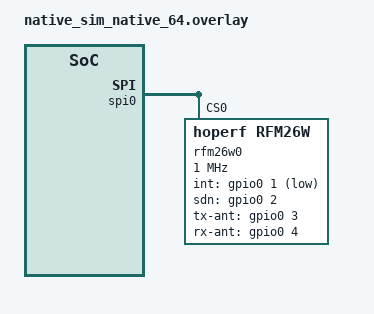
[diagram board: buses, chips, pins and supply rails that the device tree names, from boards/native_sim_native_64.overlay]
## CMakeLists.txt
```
cmake_minimum_required(VERSION 3.20.0)

# Runs on the host, not on the target: the radio is a software model on an emulated SPI bus.
set(BOARD native_sim/native/64)

# The RFM26W driver is an out-of-tree Zephyr module that lives in the COMMS app.
list(APPEND EXTRA_ZEPHYR_MODULES ${CMAKE_CURRENT_SOURCE_DIR}/../../COMMS/drivers/rfm26w)

find_package(Zephyr REQUIRED HINTS $ENV{ZEPHYR_BASE})
project(rfm26w_emul_test)

# The radio model is shared with apps/tests/commsTest
set(RFM26W_EMUL_DIR ${CMAKE_CURRENT_SOURCE_DIR}/../../COMMS/drivers/rfm26w/emul)

target_sources(app PRIVATE src/main.c ${RFM26W_EMUL_DIR}/rfm26w_emul.c)
target_include_directories(app PRIVATE ${RFM26W_EMUL_DIR})
```

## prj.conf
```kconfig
CONFIG_ZTEST=y
CONFIG_ASSERT=y

CONFIG_GPIO=y
CONFIG_GPIO_EMUL=y
CONFIG_SPI=y
CONFIG_SPI_EMUL=y
CONFIG_EMUL=y

CONFIG_LOG=y
CONFIG_RFM26W_LOG_LEVEL_DBG=y

# The driver's work queue runs the callback and FIFO streaming
CONFIG_MAIN_STACK_SIZE=4096
CONFIG_ZTEST_STACK_SIZE=4096

# native_sim defaults to 10 ms ticks, which would turn the driver's 1 ms sleeps into 10 ms ones
CONFIG_SYS_CLOCK_TICKS_PER_SEC=10000
```

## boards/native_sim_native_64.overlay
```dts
/*
 * The RFM26W node on native_sim's emulated SPI controller and emulated GPIO port. Both the driver
 * and the software model in src/rfm26w_emul.c bind to this node (compatible "hoperf,rfm26w").
 * The pins are arbitrary: nothing is wired.
 */
&spi0 {
	rfm26w0: rfm26w@0 {
		compatible = "hoperf,rfm26w";
		reg = <0>;
		spi-max-frequency = <1000000>;
		int-gpios = <&gpio0 1 (GPIO_ACTIVE_LOW | GPIO_PULL_UP)>;
		sdn-gpios = <&gpio0 2 GPIO_ACTIVE_HIGH>;
		tx-ant-gpios = <&gpio0 3 GPIO_ACTIVE_HIGH>;
		rx-ant-gpios = <&gpio0 4 GPIO_ACTIVE_HIGH>;
		block-length = <223>;
		xo-frequency-hz = <30000000>;
	};
};
```

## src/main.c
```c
/**
 * @file main.c
 * @brief Tests for the RFM26W driver against a software model of the radio (native_sim)
 *
 * What this covers: command sequencing and CTS handling, profile loading and read-back, start and
 * shutdown, configure, FIFO streaming for send and receive, the interrupt loop, RSSI timing, error
 * paths and blocked callers being woken by shutdown. What it cannot cover: how the real chip behaves.
 * See PLANNED.md section 5.5 for what needs the bench.
 */
#include <errno.h>
#include <string.h>
#include <zephyr/device.h>
#include <zephyr/kernel.h>
#include <zephyr/ztest.h>

#include <ut/drivers/rfm26w.h>

#include "rfm26w_emul.h"

#define BLOCK 223

/* The RSSI offset the test profile below writes, so the dBm conversion has a known input. */
#define TEST_RSSI_COMP 0x40
#define EXPECT_DBM10(raw) ((int16_t)((raw) * 5 - (TEST_RSSI_COMP + 70) * 10))

static const struct device *const radio = DEVICE_DT_GET(DT_NODELABEL(rfm26w0));
static struct rfm26w_emul_data *emul;

/* ------------------------------------------------------------------------------------------ */
/* A small profile table, replacing the driver's (weak) empty placeholder                     */
/* ------------------------------------------------------------------------------------------ */

static const uint8_t test_profile[] = {
	/* POWER_UP with the 30 MHz reference: the driver must skip it and send its own */
	0x07, 0x02, 0x01, 0x00, 0x01, 0xC9, 0xC3, 0x80,
	/* GPIO_PIN_CFG, no change */
	0x08, 0x13, 0x00, 0x00, 0x00, 0x00, 0x00, 0x00, 0x00,
	/* GLOBAL_XO_TUNE and GLOBAL_CLK_CFG (group 0, two properties) */
	0x06, 0x11, 0x00, 0x02, 0x00, 0x52, 0x00,
	/* MODEM_RSSI_COMP = TEST_RSSI_COMP */
	0x05, 0x11, 0x20, 0x01, 0x4E, TEST_RSSI_COMP,
	/* PKT_TX_THRESHOLD, PKT_RX_THRESHOLD = 16, 16: the driver must overwrite these */
	0x06, 0x11, 0x12, 0x02, 0x0B, 0x10, 0x10,
	0x00,
};

int rfm26w_profile_table(enum rfm26w_profile profile, const uint8_t **tbl, size_t *len)
{
	if (profile != RFM26W_PROFILE_GFSK_9K6) {
		return -ENOTSUP;
	}
	*tbl = test_profile;
	*len = sizeof(test_profile);
	return 0;
}

/* ------------------------------------------------------------------------------------------ */
/* Helpers                                                                                    */
/* ------------------------------------------------------------------------------------------ */

#define WAIT_UNTIL(cond, ms)                                                                       \
	do {                                                                                       \
		for (int _i = 0; !(cond) && _i < (ms); _i++) {                                     \
			k_msleep(1);                                                               \
		}                                                                                  \
	} while (0)

static void fill(uint8_t *b, uint8_t seed)
{
	for (int i = 0; i < BLOCK; i++) {
		b[i] = (uint8_t)(seed + i * 7);
	}
}

struct rx_log {
	int n;
	uint8_t blocks[4][BLOCK];
	struct rfm26w_rx_info infos[4];
};
static struct rx_log rxlog;

static void rx_cb(const struct device *dev, const uint8_t *block, size_t len,
		  const struct rfm26w_rx_info *info, void *user_data)
{
	ARG_UNUSED(dev);
	ARG_UNUSED(user_data);
	if (rxlog.n < 4 && len == BLOCK) {
		memcpy(rxlog.blocks[rxlog.n], block, len);
		rxlog.infos[rxlog.n] = *info;
	}
	rxlog.n++;
}

static void start_radio(void)
{
	zassert_ok(rfm26w_start(radio), "start failed");
}

/* ------------------------------------------------------------------------------------------ */
/* Suite                                                                                      */
/* ------------------------------------------------------------------------------------------ */

static void before(void *fixture)
{
	ARG_UNUSED(fixture);
	emul = RFM26W_EMUL_DATA();
	(void)rfm26w_shutdown(radio);
	rfm26w_emul_reset(emul);
	memset(&rxlog, 0, sizeof(rxlog));
}

static void after(void *fixture)
{
	ARG_UNUSED(fixture);
	/* Whatever the test did, the driver must never have broken the command protocol. */
	zassert_equal(emul->cmds_while_busy, 0, "command sent before CTS");
	zassert_equal(emul->bad_cmds, 0, "bad or unknown command sent");
	zassert_equal(emul->ant_violations, 0, "antenna pins wrong for the radio state");
	(void)rfm26w_shutdown(radio);
}

ZTEST_SUITE(rfm26w, NULL, NULL, before, after, NULL);

/* ---- start, shutdown, info ---- */

ZTEST(rfm26w, test_start_programs_the_chip)
{
	start_radio();

	zassert_equal(emul->power_ups, 1);
	zassert_equal(emul->xo_hz, 30000000U, "POWER_UP must carry the devicetree clock");
	zassert_false(emul->xo_tcxo);
	zassert_equal(emul->state, 3, "radio should be Ready");
	zassert_true(emul->cmd_count[0x01] >= 1, "PART_INFO not read");

	/* profile properties arrived, the POWER_UP entry was skipped, thresholds were overwritten */
	zassert_equal(rfm26w_emul_prop(emul, 0x00, 0x00), 0x52);
	zassert_equal(rfm26w_emul_prop(emul, 0x20, 0x4E), TEST_RSSI_COMP);
	zassert_equal(emul->cmd_count[0x02], 1, "only the driver's own POWER_UP");
	zassert_equal(emul->cmd_count[0x13], 1, "profile GPIO_PIN_CFG not sent");
	zassert_equal(rfm26w_emul_prop(emul, 0x12, 0x0B), CONFIG_RFM26W_TX_THRESHOLD);
	zassert_equal(rfm26w_emul_prop(emul, 0x12, 0x0C), CONFIG_RFM26W_RX_THRESHOLD);

	/* interrupts: all three groups, packet/FIFO bits, sync detect, FIFO error */
	zassert_equal(rfm26w_emul_prop(emul, 0x01, 0x00), 0x07);
	zassert_equal(rfm26w_emul_prop(emul, 0x01, 0x01), 0x33);
	zassert_equal(rfm26w_emul_prop(emul, 0x01, 0x02), 0x01);
	zassert_equal(rfm26w_emul_prop(emul, 0x01, 0x03), 0x20);
}

ZTEST(rfm26w, test_start_twice_is_harmless)
{
	start_radio();
	zassert_ok(rfm26w_start(radio));
	zassert_equal(emul->power_ups, 1);
}

ZTEST(rfm26w, test_get_info)
{
	struct rfm26w_info info;

	zassert_equal(rfm26w_get_info(radio, &info), -ESHUTDOWN);
	start_radio();
	zassert_ok(rfm26w_get_info(radio, &info));
	zassert_equal(info.part, 0x4463);
	zassert_equal(info.chip_rev, 0x03);
	zassert_equal(info.block_len, BLOCK);
	zassert_equal(info.profile, RFM26W_PROFILE_GFSK_9K6);
	zassert_equal(rfm26w_get_info(radio, NULL), -EINVAL);
}

ZTEST(rfm26w, test_start_without_cts_times_out_and_recovers)
{
	struct rfm26w_stats st;

	emul->never_cts = true;
	zassert_equal(rfm26w_start(radio), -ETIMEDOUT);
	zassert_ok(rfm26w_get_stats(radio, &st));
	zassert_equal(st.cts_timeouts, 1);

	emul->never_cts = false;
	zassert_ok(rfm26w_start(radio), "a failed start must leave the radio startable");
}

ZTEST(rfm26w, test_slow_cts_is_polled_not_failed)
{
	/* 60 polls: about 50 busy-wait polls and ten 1 ms sleeps, inside the 20 ms timeout */
	emul->cts_delay_polls = 60;
	start_radio();
}

ZTEST(rfm26w, test_spi_error_is_reported)
{
	struct rfm26w_stats st;

	emul->fail_next_io = true;
	zassert_equal(rfm26w_start(radio), -EIO);
	zassert_ok(rfm26w_get_stats(radio, &st));
	zassert_equal(st.spi_errors, 1);
	zassert_ok(rfm26w_start(radio));
}

ZTEST(rfm26w, test_profile_readback_catches_a_bad_write)
{
	emul->corrupt_props = true;
	zassert_equal(rfm26w_start(radio), -EIO, "read-back must notice the wrong values");
	emul->corrupt_props = false;
	zassert_ok(rfm26w_start(radio));
}

ZTEST(rfm26w, test_restart_after_shutdown)
{
	uint8_t blk[BLOCK];
	uint8_t got[BLOCK];
	size_t len = 0;

	fill(blk, 1);
	start_radio();
	zassert_ok(rfm26w_shutdown(radio));
	zassert_true(emul->resets >= 1, "SDN must have been raised");
	zassert_false(emul->powered_up, "chip loses its state in shutdown");

	zassert_ok(rfm26w_start(radio));
	zassert_equal(emul->power_ups, 2);
	zassert_equal(rfm26w_emul_prop(emul, 0x20, 0x4E), TEST_RSSI_COMP, "profile reloaded");
	zassert_ok(rfm26w_send(radio, blk, BLOCK, K_SECONDS(2)));
	zassert_ok(rfm26w_emul_take_tx(emul, got, &len));
	zassert_mem_equal(got, blk, BLOCK);
}

/* ---- configure and TX power ---- */

ZTEST(rfm26w, test_configure_writes_frequency_and_power)
{
	const struct rfm26w_config cfg = {
		.frequency_hz = 433920000,
		.tx_power_dbm = -30,
		.profile = RFM26W_PROFILE_GFSK_9K6,
	};

	zassert_equal(rfm26w_configure(radio, &cfg), -ESHUTDOWN);
	start_radio();
	zassert_ok(rfm26w_configure(radio, &cfg));

	/* the numbers a WDS header gives for 433.92 MHz with a 30 MHz clock */
	zassert_equal(rfm26w_emul_prop(emul, 0x40, 0x00), 0x38);
	zassert_equal(rfm26w_emul_prop(emul, 0x40, 0x01), 0x0E);
	zassert_equal(rfm26w_emul_prop(emul, 0x40, 0x02), 0xD9);
	zassert_equal(rfm26w_emul_prop(emul, 0x40, 0x03), 0x16);
	zassert_equal(rfm26w_emul_prop(emul, 0x20, 0x51), 0x0A);
	zassert_equal(rfm26w_emul_prop(emul, 0x22, 0x01), 24, "placeholder mapping of -30 dBm");
}

ZTEST(rfm26w, test_configure_rejects_bad_input)
{
	struct rfm26w_config cfg = {
		.frequency_hz = 600000000, /* between the module's bands */
		.tx_power_dbm = 0,
		.profile = RFM26W_PROFILE_GFSK_9K6,
	};

	start_radio();
	zassert_equal(rfm26w_configure(radio, NULL), -EINVAL);
	zassert_equal(rfm26w_configure(radio, &cfg), -EINVAL);
	cfg.frequency_hz = 433920000;
	cfg.tx_power_dbm = 12;
	zassert_equal(rfm26w_configure(radio, &cfg), -EINVAL);
	cfg.tx_power_dbm = 0;
	cfg.profile = RFM26W_PROFILE_GFSK_50K; /* no table */
	zassert_equal(rfm26w_configure(radio, &cfg), -ENOTSUP);
}

ZTEST(rfm26w, test_tx_power_is_capped)
{
	zassert_equal(rfm26w_set_tx_power(radio, 0), -ESHUTDOWN);
	start_radio();
	zassert_ok(rfm26w_set_tx_power(radio, 11));
	zassert_equal(rfm26w_emul_prop(emul, 0x22, 0x01), CONFIG_RFM26W_PA_LEVEL_MAX);
	zassert_equal(rfm26w_set_tx_power(radio, 12), -EINVAL);
	zassert_equal(rfm26w_set_tx_power(radio, -41), -EINVAL);
}

/* ---- send ---- */

ZTEST(rfm26w, test_send_streams_a_whole_block)
{
	uint8_t blk[BLOCK];
	uint8_t got[BLOCK];
	size_t len = 0;
	struct rfm26w_stats st;

	fill(blk, 9);
	start_radio();
	zassert_ok(rfm26w_send(radio, blk, BLOCK, K_SECONDS(2)));

	zassert_equal(emul->start_tx_count, 1);
	zassert_equal(emul->last_tx_len_arg, BLOCK);
	zassert_ok(rfm26w_emul_take_tx(emul, got, &len));
	zassert_equal(len, BLOCK);
	zassert_mem_equal(got, blk, BLOCK, "block must arrive intact (it is larger than the FIFO)");
	zassert_equal(emul->fifo_underflows, 0);
	zassert_equal(emul->state, 3, "back to Ready when not listening");
	zassert_ok(rfm26w_get_stats(radio, &st));
	zassert_equal(st.tx_blocks, 1);
	zassert_equal(st.tx_underruns, 0);
}

ZTEST(rfm26w, test_send_argument_and_state_errors)
{
	uint8_t blk[BLOCK] = {0};

	zassert_equal(rfm26w_send(radio, blk, BLOCK, K_MSEC(10)), -ESHUTDOWN);
	start_radio();
	zassert_equal(rfm26w_send(radio, blk, BLOCK - 1, K_MSEC(10)), -EMSGSIZE);
	zassert_equal(rfm26w_send(radio, NULL, BLOCK, K_MSEC(10)), -EMSGSIZE);
	zassert_equal(emul->start_tx_count, 0);
}

ZTEST(rfm26w, test_send_timeout_aborts_and_the_radio_recovers)
{
	uint8_t blk[BLOCK];

	fill(blk, 3);
	start_radio();
	emul->stall_tx = true;
	zassert_equal(rfm26w_send(radio, blk, BLOCK, K_MSEC(100)), -ETIMEDOUT);
	zassert_equal(emul->state, 3, "driver must stop the transmission");

	emul->stall_tx = false;
	zassert_ok(rfm26w_send(radio, blk, BLOCK, K_SECONDS(2)), "next send must work");
}

ZTEST(rfm26w, test_send_underrun_is_reported)
{
	uint8_t blk[BLOCK];
	struct rfm26w_stats st;

	fill(blk, 5);
	start_radio();
	/* The model drains the FIFO faster than the driver can possibly refill it. */
	emul->us_per_byte = 1;
	zassert_equal(rfm26w_send(radio, blk, BLOCK, K_SECONDS(2)), -EIO);
	zassert_ok(rfm26w_get_stats(radio, &st));
	zassert_equal(st.tx_underruns, 1);
	zassert_equal(st.tx_blocks, 0);

	emul->us_per_byte = 833;
	zassert_ok(rfm26w_send(radio, blk, BLOCK, K_SECONDS(2)), "recovered after the underrun");
}

/* ---- receive ---- */

ZTEST(rfm26w, test_async_receive_delivers_block_and_rssi)
{
	uint8_t blk[BLOCK];

	fill(blk, 11);
	start_radio();
	zassert_ok(rfm26w_recv_async(radio, rx_cb, NULL));
	zassert_equal(emul->start_rx_count, 1);
	zassert_equal(emul->last_rx_len_arg, BLOCK, "RX_LEN must be the block length");
	zassert_equal(emul->state, 8);

	zassert_ok(rfm26w_emul_inject_rx(emul, blk, BLOCK, 120));
	WAIT_UNTIL(rxlog.n >= 1, 1000);
	zassert_equal(rxlog.n, 1);
	zassert_mem_equal(rxlog.blocks[0], blk, BLOCK);
	/* The model clears its latched RSSI when the block ends. A driver that reads it late gets 0. */
	zassert_equal(rxlog.infos[0].rssi_dbm10, EXPECT_DBM10(120));
	zassert_true(rxlog.infos[0].uptime_ms > 0);
	zassert_equal(emul->state, 8, "still listening");

	zassert_ok(rfm26w_recv_async(radio, NULL, NULL));
	zassert_equal(emul->state, 3, "cancelling stops listening");
}

ZTEST(rfm26w, test_async_receive_back_to_back_blocks)
{
	uint8_t a[BLOCK];
	uint8_t b[BLOCK];
	uint8_t c[BLOCK];
	struct rfm26w_stats st;

	fill(a, 1);
	fill(b, 2);
	fill(c, 3);
	start_radio();
	zassert_ok(rfm26w_recv_async(radio, rx_cb, NULL));
	zassert_ok(rfm26w_emul_inject_rx(emul, a, BLOCK, 100));
	zassert_ok(rfm26w_emul_inject_rx(emul, b, BLOCK, 110));
	zassert_ok(rfm26w_emul_inject_rx(emul, c, BLOCK, 130));
	WAIT_UNTIL(rxlog.n >= 3, 2000);

	zassert_equal(rxlog.n, 3);
	zassert_mem_equal(rxlog.blocks[0], a, BLOCK);
	zassert_mem_equal(rxlog.blocks[1], b, BLOCK);
	zassert_mem_equal(rxlog.blocks[2], c, BLOCK);
	zassert_equal(rxlog.infos[1].rssi_dbm10, EXPECT_DBM10(110));
	zassert_equal(rxlog.infos[2].rssi_dbm10, EXPECT_DBM10(130));
	zassert_ok(rfm26w_get_stats(radio, &st));
	zassert_equal(st.rx_blocks, 3);
	zassert_equal(st.rx_overruns, 0);
	zassert_equal(emul->start_rx_count, 1, "receive never had to be restarted");
	zassert_equal(emul->cmd_count[0x33], 3, "one state check per block");
}

ZTEST(rfm26w, test_blocking_receive)
{
	uint8_t blk[BLOCK];
	uint8_t got[BLOCK];
	struct rfm26w_rx_info info;

	fill(blk, 21);
	zassert_equal(rfm26w_recv(radio, got, sizeof(got), &info, K_MSEC(10)), -ESHUTDOWN);
	start_radio();
	zassert_equal(rfm26w_recv(radio, got, BLOCK - 1, &info, K_MSEC(10)), -EMSGSIZE);

	zassert_ok(rfm26w_emul_inject_rx(emul, blk, BLOCK, 90));
	zassert_ok(rfm26w_recv(radio, got, sizeof(got), &info, K_SECONDS(1)));
	zassert_mem_equal(got, blk, BLOCK);
	zassert_equal(info.rssi_dbm10, EXPECT_DBM10(90));

	zassert_equal(rfm26w_recv(radio, got, sizeof(got), &info, K_MSEC(50)), -EAGAIN);
	zassert_equal(rfm26w_recv(radio, got, sizeof(got), NULL, K_NO_WAIT), -EAGAIN);
}

ZTEST(rfm26w, test_receive_keeps_one_block_and_counts_the_one_it_drops)
{
	uint8_t a[BLOCK];
	uint8_t b[BLOCK];
	uint8_t got[BLOCK];
	struct rfm26w_stats st;

	fill(a, 31);
	fill(b, 32);
	start_radio();
	/* the first recv() arms the radio */
	zassert_equal(rfm26w_recv(radio, got, sizeof(got), NULL, K_NO_WAIT), -EAGAIN);
	zassert_ok(rfm26w_emul_inject_rx(emul, a, BLOCK, 100));
	zassert_ok(rfm26w_emul_inject_rx(emul, b, BLOCK, 100));
	k_msleep(700); /* both blocks have been on the air, nobody called recv() */

	zassert_ok(rfm26w_get_stats(radio, &st));
	zassert_equal(st.rx_blocks, 1);
	zassert_equal(st.rx_overruns, 1, "the second block is dropped and counted");
	zassert_equal(emul->fifo_overflows, 0, "dropping must not overflow the radio FIFO");
	zassert_ok(rfm26w_recv(radio, got, sizeof(got), NULL, K_NO_WAIT));
	zassert_mem_equal(got, a, BLOCK, "the first block is the one kept");
	zassert_equal(rfm26w_recv(radio, got, sizeof(got), NULL, K_NO_WAIT), -EAGAIN);
}

ZTEST(rfm26w, test_receive_overflow_is_recovered)
{
	uint8_t bad[BLOCK];
	uint8_t good[BLOCK];
	struct rfm26w_stats st;

	fill(bad, 40);
	fill(good, 41);
	start_radio();
	zassert_ok(rfm26w_recv_async(radio, rx_cb, NULL));

	/* bytes arrive far faster than the driver can drain them */
	emul->us_per_byte = 1;
	zassert_ok(rfm26w_emul_inject_rx(emul, bad, BLOCK, 100));
	WAIT_UNTIL(emul->fifo_overflows > 0, 200);
	k_msleep(50);
	zassert_ok(rfm26w_get_stats(radio, &st));
	zassert_true(st.rx_overruns >= 1);
	zassert_equal(rxlog.n, 0, "a damaged block must not be delivered");

	emul->us_per_byte = 833;
	zassert_ok(rfm26w_emul_inject_rx(emul, good, BLOCK, 100));
	WAIT_UNTIL(rxlog.n >= 1, 1000);
	zassert_equal(rxlog.n, 1);
	zassert_mem_equal(rxlog.blocks[0], good, BLOCK);
}

ZTEST(rfm26w, test_receive_restarts_if_the_chip_leaves_rx)
{
	uint8_t a[BLOCK];
	uint8_t b[BLOCK];

	fill(a, 51);
	fill(b, 52);
	start_radio();
	emul->leave_rx_after_packet = true;
	zassert_ok(rfm26w_recv_async(radio, rx_cb, NULL));
	zassert_ok(rfm26w_emul_inject_rx(emul, a, BLOCK, 100));
	zassert_ok(rfm26w_emul_inject_rx(emul, b, BLOCK, 100));
	WAIT_UNTIL(rxlog.n >= 2, 1500);

	zassert_equal(rxlog.n, 2, "second block lost: receive was not restarted");
	zassert_mem_equal(rxlog.blocks[1], b, BLOCK);
	/* the initial START_RX, then one restart after each of the two blocks */
	zassert_equal(emul->start_rx_count, 3);
}

ZTEST(rfm26w, test_async_receive_argument_and_state_errors)
{
	uint8_t got[BLOCK];

	zassert_equal(rfm26w_recv_async(radio, rx_cb, NULL), -ESHUTDOWN);
	start_radio();
	zassert_ok(rfm26w_recv_async(radio, rx_cb, NULL));
	zassert_equal(rfm26w_recv_async(radio, rx_cb, NULL), -EBUSY, "already armed");
	zassert_equal(rfm26w_recv(radio, got, sizeof(got), NULL, K_NO_WAIT), -EBUSY,
		      "recv() and the callback are exclusive");
	zassert_ok(rfm26w_recv_async(radio, NULL, NULL));
	zassert_equal(rfm26w_recv(radio, got, sizeof(got), NULL, K_NO_WAIT), -EAGAIN,
		      "recv() works again once the callback is cancelled");
}

/* ---- sending and receiving together ---- */

ZTEST(rfm26w, test_send_waits_for_a_block_that_is_arriving)
{
	uint8_t in[BLOCK];
	uint8_t out[BLOCK];
	uint8_t got[BLOCK];
	size_t len = 0;

	fill(in, 61);
	fill(out, 62);
	start_radio();
	zassert_ok(rfm26w_recv_async(radio, rx_cb, NULL));
	zassert_ok(rfm26w_emul_inject_rx(emul, in, BLOCK, 100));
	k_msleep(60); /* sync word seen, block only partly received */

	zassert_equal(rfm26w_send(radio, out, BLOCK, K_MSEC(10)), -EBUSY);
	zassert_equal(emul->start_tx_count, 0, "must not transmit over an incoming block");

	WAIT_UNTIL(rxlog.n >= 1, 1000);
	zassert_equal(rxlog.n, 1);
	zassert_mem_equal(rxlog.blocks[0], in, BLOCK, "incoming block must be undamaged");

	/* Now the air is free. After the send, the radio listens again by itself. */
	zassert_ok(rfm26w_send(radio, out, BLOCK, K_SECONDS(2)));
	zassert_ok(rfm26w_emul_take_tx(emul, got, &len));
	zassert_mem_equal(got, out, BLOCK);
	zassert_equal(emul->state, 8, "receive must resume after the transmission");
	zassert_equal(emul->start_rx_count, 2);

	zassert_ok(rfm26w_emul_inject_rx(emul, in, BLOCK, 100));
	WAIT_UNTIL(rxlog.n >= 2, 1000);
	zassert_equal(rxlog.n, 2, "a block after the send is received");
}

/* ---- RSSI and statistics ---- */

ZTEST(rfm26w, test_read_rssi)
{
	int16_t rssi;

	zassert_equal(rfm26w_read_rssi(radio, &rssi), -ESHUTDOWN);
	start_radio();
	emul->curr_rssi = 100;
	zassert_ok(rfm26w_read_rssi(radio, &rssi));
	zassert_equal(rssi, EXPECT_DBM10(100));
	zassert_equal(rfm26w_read_rssi(radio, NULL), -EINVAL);
}

ZTEST(rfm26w, test_stats_argument_check)
{
	struct rfm26w_stats st;

	zassert_equal(rfm26w_get_stats(radio, NULL), -EINVAL);
	zassert_ok(rfm26w_get_stats(radio, &st));
}

/* ---- shutdown wakes anyone who is waiting ---- */

static K_THREAD_STACK_DEFINE(waiter_stack, 2048);
static struct k_thread waiter;
static volatile int waiter_ret;
static volatile bool waiter_is_send;

static void waiter_fn(void *a, void *b, void *c)
{
	uint8_t buf[BLOCK] = {0};

	ARG_UNUSED(a);
	ARG_UNUSED(b);
	ARG_UNUSED(c);
	if (waiter_is_send) {
		waiter_ret = rfm26w_send(radio, buf, BLOCK, K_FOREVER);
	} else {
		waiter_ret = rfm26w_recv(radio, buf, sizeof(buf), NULL, K_FOREVER);
	}
}

static void run_waiter_then_shutdown(bool is_send)
{
	waiter_is_send = is_send;
	waiter_ret = 12345;
	k_thread_create(&waiter, waiter_stack, K_THREAD_STACK_SIZEOF(waiter_stack), waiter_fn, NULL,
			NULL, NULL, K_PRIO_PREEMPT(5), 0, K_NO_WAIT);
	k_msleep(50);
	zassert_equal(waiter_ret, 12345, "the call should still be waiting");
	zassert_ok(rfm26w_shutdown(radio));
	zassert_ok(k_thread_join(&waiter, K_SECONDS(1)), "shutdown did not wake the waiter");
}

ZTEST(rfm26w, test_shutdown_wakes_a_blocked_recv)
{
	start_radio();
	run_waiter_then_shutdown(false);
	zassert_equal(waiter_ret, -ESHUTDOWN);
}

ZTEST(rfm26w, test_shutdown_wakes_a_blocked_send)
{
	start_radio();
	emul->stall_tx = true;
	run_waiter_then_shutdown(true);
	zassert_equal(waiter_ret, -ESHUTDOWN);
}
```
